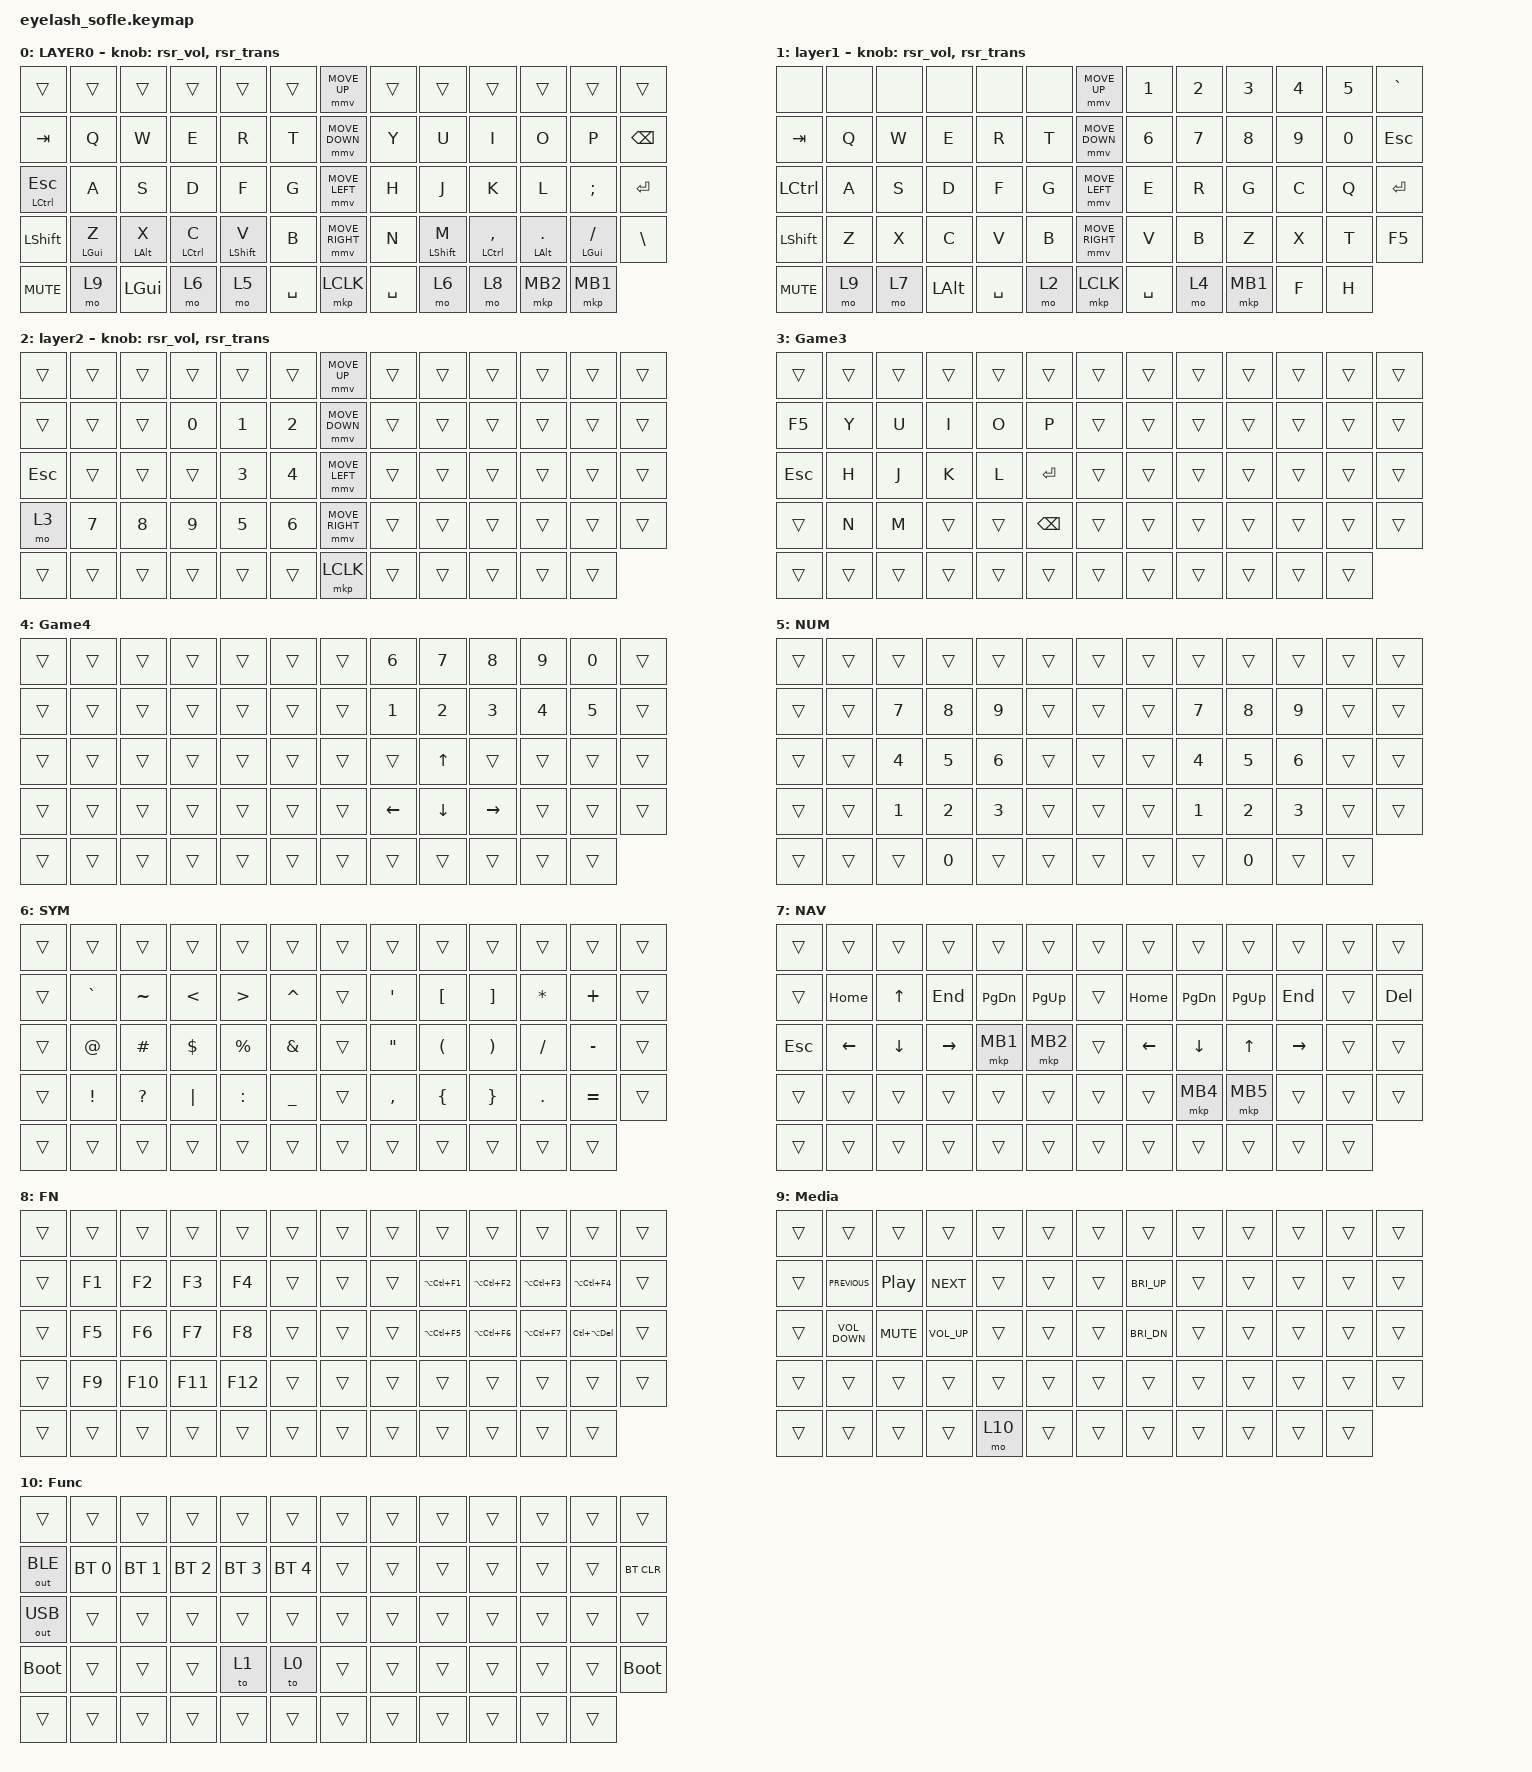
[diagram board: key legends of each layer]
#include <input/processors.dtsi>
#include <zephyr/dt-bindings/input/input-event-codes.h>
#include <behaviors/runtime-sensor-rotate.dtsi>
#include <behaviors.dtsi>
#include <dt-bindings/zmk/bt.h>
#include <dt-bindings/zmk/keys.h>
#include <dt-bindings/zmk/outputs.h>
#include <dt-bindings/zmk/pointing.h>

/ {
    zip_scroll_scaler: zip_scroll_scaler {
        compatible = "zmk,input-processor-scaler";
        #input-processor-cells = <2>;
        type = <INPUT_EV_REL>;
        codes = <INPUT_REL_WHEEL INPUT_REL_HWHEEL>;
        track-remainders;
    };
};

&mmv_input_listener { input-processors = <&zip_xy_scaler 2 1>; };

&msc_input_listener { input-processors = <&zip_scroll_scaler 2 1>; };

&msc {
    acceleration-exponent = <0>;      // 0
    time-to-max-speed-ms = <0>;       // 300
    delay-ms = <0>;                   // 0
};

&mmv {
    time-to-max-speed-ms = <400>;
    acceleration-exponent = <1>;
};

&soft_off { hold-time-ms = <2000>; };

/ {
    behaviors {
        rsr_vol: rsr_vol {
            compatible = "zmk,behavior-runtime-sensor-rotate";
            #sensor-binding-cells = <0>;
            tap-ms = <5>;
            cw-binding = <&kp C_VOL_UP>;
            ccw-binding = <&kp C_VOL_DN>;
        };

        rsr_trans: rsr_trans {
            compatible = "zmk,behavior-runtime-sensor-rotate";
            #sensor-binding-cells = <0>;
            tap-ms = <0>;
        };
    };

    macros {
        shift_MB3: shift_MB3 {
            compatible = "zmk,behavior-macro";
            #binding-cells = <0>;
            bindings =
                <&macro_press>,
                <&kp LEFT_SHIFT>,
                <&macro_press>,
                <&mkp MB3>,
                <&macro_pause_for_release>,
                <&macro_release>,
                <&mkp MB3 &kp LEFT_SHIFT>;

            label = "SHIFT_MB3";
        };
    };

    combos {
        compatible = "zmk,combos";

        softoff {
            bindings = <&soft_off>;
            key-positions = <14 28 40>;
        };
    };

    keymap {
        compatible = "zmk,keymap";

        Base {
            bindings = <
&trans            &trans          &trans          &trans              &trans            &trans       &mmv MOVE_UP     &trans     &trans            &trans                  &trans            &trans             &trans
&kp TAB           &kp Q           &kp W           &kp E               &kp R             &kp T        &mmv MOVE_DOWN   &kp Y      &kp U             &kp I                   &kp O             &kp P              &kp BACKSPACE
&mt LCTRL ESCAPE  &kp A           &kp S           &kp D               &kp F             &kp G        &mmv MOVE_LEFT   &kp H      &kp J             &kp K                   &kp L             &kp SEMI           &kp ENTER
&kp LSHFT         &mt LEFT_GUI Z  &mt LEFT_ALT X  &mt LEFT_CONTROL C  &mt LEFT_SHIFT V  &kp B        &mmv MOVE_RIGHT  &kp N      &mt LEFT_SHIFT M  &mt LEFT_CONTROL COMMA  &mt LEFT_ALT DOT  &mt LEFT_GUI FSLH  &kp BACKSLASH
&kp C_MUTE        &mo 9           &kp LEFT_GUI    &mo 6               &mo 5             &kp SPACE    &mkp LCLK        &kp SPACE  &mo 6             &mo 8                   &mkp MB2          &mkp MB1
            >;

            sensor-bindings = <&rsr_vol &rsr_trans>;
            display-name = "LAYER0";
            label = "Base";
        };

        Game1 {
            bindings = <
&none           &none  &none  &none         &none      &none    &mmv MOVE_UP     &kp NUMBER_1  &kp NUMBER_2  &kp NUMBER_3  &kp NUMBER_4  &kp NUMBER_5  &kp GRAVE
&kp TAB         &kp Q  &kp W  &kp E         &kp R      &kp T    &mmv MOVE_DOWN   &kp NUMBER_6  &kp NUMBER_7  &kp NUMBER_8  &kp NUMBER_9  &kp NUMBER_0  &kp ESCAPE
&kp LCTRL       &kp A  &kp S  &kp D         &kp F      &kp G    &mmv MOVE_LEFT   &kp E         &kp R         &kp G         &kp C         &kp Q         &kp ENTER
&kp LEFT_SHIFT  &kp Z  &kp X  &kp C         &kp V      &kp B    &mmv MOVE_RIGHT  &kp V         &kp B         &kp Z         &kp X         &kp T         &kp F5
&kp C_MUTE      &mo 9  &mo 7  &kp LEFT_ALT  &kp SPACE  &mo 2    &mkp LCLK        &kp SPACE     &mo 4         &mkp MB1      &kp F         &kp H
            >;

            display-name = "layer1";
            sensor-bindings = <&rsr_vol &rsr_trans>;
            label = "Game1";
        };

        Game2 {
            bindings = <
&trans      &trans        &trans        &trans        &trans        &trans          &mmv MOVE_UP     &trans  &trans  &trans  &trans  &trans  &trans
&trans      &trans        &trans        &kp NUMBER_0  &kp NUMBER_1  &kp NUMBER_2    &mmv MOVE_DOWN   &trans  &trans  &trans  &trans  &trans  &trans
&kp ESCAPE  &trans        &trans        &trans        &kp NUMBER_3  &kp NUMBER_4    &mmv MOVE_LEFT   &trans  &trans  &trans  &trans  &trans  &trans
&mo 3       &kp NUMBER_7  &kp NUMBER_8  &kp NUMBER_9  &kp NUMBER_5  &kp NUMBER_6    &mmv MOVE_RIGHT  &trans  &trans  &trans  &trans  &trans  &trans
&trans      &trans        &trans        &trans        &trans        &trans          &mkp LCLK        &trans  &trans  &trans  &trans  &trans
            >;

            display-name = "layer2";
            sensor-bindings = <&rsr_vol &rsr_trans>;
            label = "Game2";
        };

        Game3 {
            bindings = <
&trans   &trans  &trans  &trans  &trans  &trans       &trans  &trans  &trans  &trans  &trans  &trans  &trans
&kp F5   &kp Y   &kp U   &kp I   &kp O   &kp P        &trans  &trans  &trans  &trans  &trans  &trans  &trans
&kp ESC  &kp H   &kp J   &kp K   &kp L   &kp ENTER    &trans  &trans  &trans  &trans  &trans  &trans  &trans
&trans   &kp N   &kp M   &trans  &trans  &kp BSPC     &trans  &trans  &trans  &trans  &trans  &trans  &trans
&trans   &trans  &trans  &trans  &trans  &trans       &trans  &trans  &trans  &trans  &trans  &trans
            >;

            label = "Game3";
        };

        Game4 {
            bindings = <
&trans  &trans  &trans  &trans  &trans  &trans    &trans  &kp N6          &kp N7          &kp N8           &kp N9  &kp N0  &trans
&trans  &trans  &trans  &trans  &trans  &trans    &trans  &kp N1          &kp N2          &kp N3           &kp N4  &kp N5  &trans
&trans  &trans  &trans  &trans  &trans  &trans    &trans  &trans          &kp UP_ARROW    &trans           &trans  &trans  &trans
&trans  &trans  &trans  &trans  &trans  &trans    &trans  &kp LEFT_ARROW  &kp DOWN_ARROW  &kp RIGHT_ARROW  &trans  &trans  &trans
&trans  &trans  &trans  &trans  &trans  &trans    &trans  &trans          &trans          &trans           &trans  &trans
            >;

            label = "Game4";
        };

        NUM {
            bindings = <
&trans  &trans  &trans  &trans  &trans  &trans    &trans  &trans  &trans  &trans  &trans  &trans  &trans
&trans  &trans  &kp N7  &kp N8  &kp N9  &trans    &trans  &trans  &kp N7  &kp N8  &kp N9  &trans  &trans
&trans  &trans  &kp N4  &kp N5  &kp N6  &trans    &trans  &trans  &kp N4  &kp N5  &kp N6  &trans  &trans
&trans  &trans  &kp N1  &kp N2  &kp N3  &trans    &trans  &trans  &kp N1  &kp N2  &kp N3  &trans  &trans
&trans  &trans  &trans  &kp N0  &trans  &trans    &trans  &trans  &trans  &kp N0  &trans  &trans
            >;

            label = "NUM";
        };

        SYM {
            bindings = <
&trans  &trans           &trans        &trans         &trans            &trans            &trans  &trans             &trans                &trans                 &trans        &trans     &trans
&trans  &kp GRAVE        &kp TILDE     &kp LESS_THAN  &kp GREATER_THAN  &kp CARET         &trans  &kp SQT            &kp LEFT_BRACKET      &kp RIGHT_BRACKET      &kp ASTERISK  &kp PLUS   &trans
&trans  &kp AT           &kp HASH      &kp DOLLAR     &kp PERCENT       &kp AMPERSAND     &trans  &kp DOUBLE_QUOTES  &kp LEFT_PARENTHESIS  &kp RIGHT_PARENTHESIS  &kp SLASH     &kp MINUS  &trans
&trans  &kp EXCLAMATION  &kp QUESTION  &kp PIPE       &kp COLON         &kp UNDERSCORE    &trans  &kp COMMA          &kp LEFT_BRACE        &kp RIGHT_BRACE        &kp DOT       &kp EQUAL  &trans
&trans  &trans           &trans        &trans         &trans            &trans            &trans  &trans             &trans                &trans                 &trans        &trans
            >;

            label = "SYM";
        };

        NAV {
            bindings = <
&trans   &trans    &trans    &trans     &trans     &trans       &trans  &trans    &trans     &trans     &trans     &trans  &trans
&trans   &kp HOME  &kp UP    &kp END    &kp PG_DN  &kp PG_UP    &trans  &kp HOME  &kp PG_DN  &kp PG_UP  &kp END    &trans  &kp DEL
&kp ESC  &kp LEFT  &kp DOWN  &kp RIGHT  &mkp MB1   &mkp MB2     &trans  &kp LEFT  &kp DOWN   &kp UP     &kp RIGHT  &trans  &trans
&trans   &trans    &trans    &trans     &trans     &trans       &trans  &trans    &mkp MB4   &mkp MB5   &trans     &trans  &trans
&trans   &trans    &trans    &trans     &trans     &trans       &trans  &trans    &trans     &trans     &trans     &trans
            >;

            label = "NAV";
        };

        FN {
            bindings = <
&trans  &trans  &trans   &trans   &trans   &trans    &trans  &trans  &trans          &trans          &trans          &trans           &trans
&trans  &kp F1  &kp F2   &kp F3   &kp F4   &trans    &trans  &trans  &kp LA(LC(F1))  &kp LA(LC(F2))  &kp LA(LC(F3))  &kp LA(LC(F4))   &trans
&trans  &kp F5  &kp F6   &kp F7   &kp F8   &trans    &trans  &trans  &kp LA(LC(F5))  &kp LA(LC(F6))  &kp LA(LC(F7))  &kp LC(LA(DEL))  &trans
&trans  &kp F9  &kp F10  &kp F11  &kp F12  &trans    &trans  &trans  &trans          &trans          &trans          &trans           &trans
&trans  &trans  &trans   &trans   &trans   &trans    &trans  &trans  &trans          &trans          &trans          &trans
            >;

            label = "FN";
        };

        Media {
            bindings = <
&trans  &trans             &trans            &trans           &trans  &trans    &trans  &trans        &trans  &trans  &trans  &trans  &trans
&trans  &kp C_PREVIOUS     &kp C_PLAY_PAUSE  &kp C_NEXT       &trans  &trans    &trans  &kp C_BRI_UP  &trans  &trans  &trans  &trans  &trans
&trans  &kp C_VOLUME_DOWN  &kp C_MUTE        &kp K_VOLUME_UP  &trans  &trans    &trans  &kp C_BRI_DN  &trans  &trans  &trans  &trans  &trans
&trans  &trans             &trans            &trans           &trans  &trans    &trans  &trans        &trans  &trans  &trans  &trans  &trans
&trans  &trans             &trans            &trans           &mo 10  &trans    &trans  &trans        &trans  &trans  &trans  &trans
            >;

            label = "Media";
        };

        Func {
            bindings = <
&trans        &trans        &trans        &trans        &trans        &trans          &trans  &trans  &trans  &trans  &trans  &trans  &trans
&out OUT_BLE  &bt BT_SEL 0  &bt BT_SEL 1  &bt BT_SEL 2  &bt BT_SEL 3  &bt BT_SEL 4    &trans  &trans  &trans  &trans  &trans  &trans  &bt BT_CLR
&out OUT_USB  &trans        &trans        &trans        &trans        &trans          &trans  &trans  &trans  &trans  &trans  &trans  &trans
&bootloader   &trans        &trans        &trans        &to 1         &to 0           &trans  &trans  &trans  &trans  &trans  &trans  &bootloader
&trans        &trans        &trans        &trans        &trans        &trans          &trans  &trans  &trans  &trans  &trans  &trans
            >;

            label = "Func";
        };
    };
};
